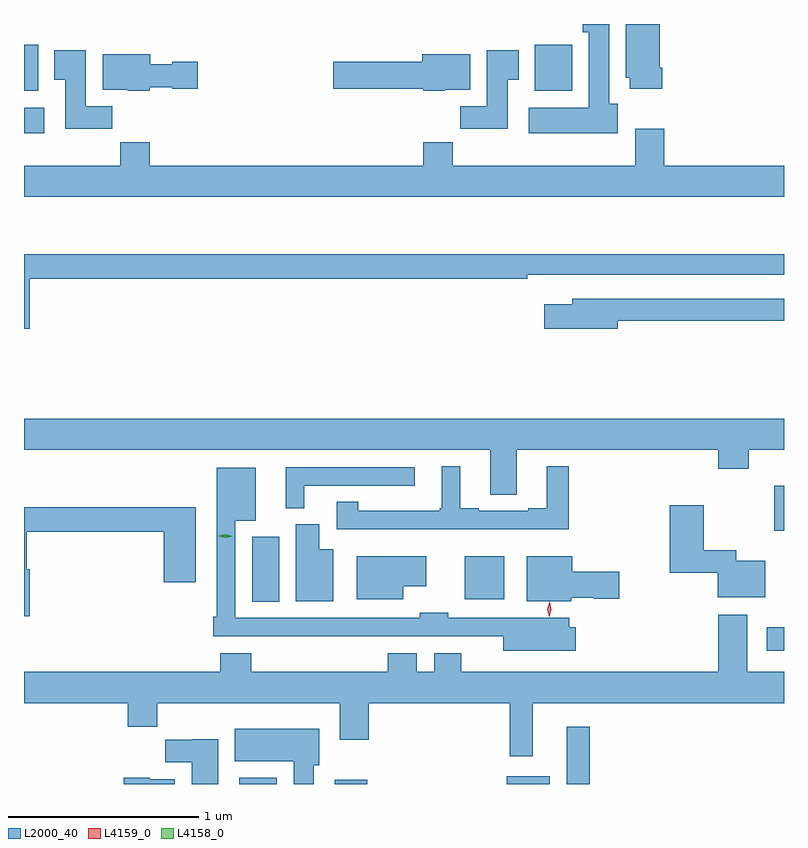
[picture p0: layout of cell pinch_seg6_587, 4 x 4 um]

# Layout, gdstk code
import gdstk
lib = gdstk.Library(unit=1e-6, precision=1e-09)
def R(c, l, rs):  # rectangles x0, y0, x1, y1
    for r in rs: c.add(gdstk.rectangle(r[:2], r[2:], *l))
def P(c, l, *ps):  # polygons
    for p in ps: c.add(gdstk.Polygon(p, *l))
L2000_40 = (2000, 40)
L4158_0 = (4158, 0)
L4159_0 = (4159, 0)

pinch_seg6_587 = lib.new_cell('pinch_seg6_587')
R(pinch_seg6_587, L2000_40, [(397.499,965.558,397.696,965.59), (398,965.558,398.171,965.581), (398.906,965.558,399.133,965.599), (399.221,965.558,399.343,965.86), (400.275,966.26,400.365,966.382), (397.565,966.517,397.708,966.859), (398.684,966.53,398.893,966.757), (400.314,966.891,400.365,967.128), (396.365,968.984,396.472,969.118), (396.365,969.206,396.439,969.448), (399.053,969.206,399.25,969.448)])
P(pinch_seg6_587, L2000_40, [(399.49,969.138),(399.445,969.138),(399.445,969.558),(399.305,969.558),(399.305,969.515),(399.338,969.515),(399.338,969.118),(399.021,969.118),(399.021,968.984),(399.49,968.984)],
  [(399.725,969.328),(399.712,969.328),(399.712,969.558),(399.533,969.558),(399.533,969.276),(399.554,969.276),(399.554,969.216),(399.725,969.216)],
  [(398.911,969.265),(398.968,969.265),(398.968,969.421),(398.801,969.421),(398.801,969.124),(398.662,969.124),(398.662,969.006),(398.911,969.006)],
  [(396.83,969.124),(396.691,969.124),(396.691,969.421),(396.524,969.421),(396.524,969.265),(396.581,969.265),(396.581,969.006),(396.83,969.006)],
  [(398.58,969.212),(398.713,969.212),(398.713,969.4),(398.462,969.4),(398.462,969.359),(397.992,969.359),(397.992,969.217),(398.466,969.217),(398.466,969.206),(398.58,969.206)],
  [(397.026,969.224),(397.146,969.224),(397.146,969.217),(397.279,969.217),(397.279,969.359),(397.146,969.359),(397.146,969.346),(397.03,969.346),(397.03,969.4),(396.779,969.4),(396.779,969.212),(396.912,969.212),(396.912,969.206),(397.026,969.206)],
  [(400.365,968.812),(399.734,968.812),(399.734,969.007),(399.581,969.007),(399.581,968.812),(398.621,968.812),(398.621,968.936),(398.465,968.936),(398.465,968.812),(397.028,968.812),(397.028,968.936),(396.871,968.936),(396.871,968.812),(396.365,968.812),(396.365,968.648),(400.365,968.648)],
  [(396.395,968.218),(399.014,968.218),(399.014,968.238),(400.365,968.238),(400.365,968.347),(396.365,968.347),(396.365,967.953),(396.395,967.953)],
  [(399.49,967.996),(400.365,967.996),(400.365,968.112),(399.251,968.112),(399.251,968.083),(399.102,968.083),(399.102,967.954),(399.49,967.954)],
  [(398.959,967.316),(400.019,967.316),(400.019,967.217),(400.179,967.217),(400.179,967.316),(400.365,967.316),(400.365,967.48),(396.365,967.48),(396.365,967.316),(398.819,967.316),(398.819,967.081),(398.959,967.081)],
  [(399.233,967.231),(399.116,967.231),(399.116,967.009),(399.02,967.009),(399.02,966.996),(398.758,966.996),(398.758,967.009),(398.662,967.009),(398.662,967.231),(398.564,967.231),(398.564,967.009),(398.553,967.009),(398.553,966.997),(398.123,966.997),(398.123,967.043),(398.01,967.043),(398.01,966.899),(399.233,966.899)],
  [(397.84,967.128),(398.422,967.128),(398.422,967.224),(397.742,967.224),(397.742,967.009),(397.84,967.009)],
  [(399.268,966.382),(399.235,966.382),(399.235,966.433),(399.015,966.433),(399.015,966.432),(398.598,966.432),(398.598,966.46),(398.448,966.46),(398.448,966.432),(397.476,966.432),(397.476,966.944),(397.585,966.944),(397.585,967.222),(397.38,967.222),(397.38,966.439),(397.36,966.439),(397.36,966.336),(397.645,966.336),(397.645,966.335),(398.195,966.335),(398.195,966.336),(398.888,966.336),(398.888,966.26),(399.268,966.26)],
  [(400.267,966.733),(400.113,966.733),(400.113,966.789),(399.942,966.789),(399.942,967.024),(399.764,967.024),(399.764,966.671),(400.017,966.671),(400.017,966.542),(400.267,966.542)],
  [(396.395,966.689),(396.38,966.689),(396.38,966.886),(397.1,966.886),(397.1,966.621),(397.27,966.621),(397.27,967.015),(396.365,967.015),(396.365,966.441),(396.395,966.441)],
  [(397.993,966.793),(397.918,966.793),(397.918,966.924),(397.796,966.924),(397.796,966.521),(397.993,966.521)],
  [(398.362,966.599),(398.482,966.599),(398.482,966.757),(398.117,966.757),(398.117,966.53),(398.362,966.53)],
  [(399.246,966.539),(399.364,966.539),(399.364,966.532),(399.499,966.532),(399.499,966.674),(399.25,966.674),(399.25,966.757),(399.011,966.757),(399.011,966.521),(399.246,966.521)],
  [(396.365,965.984),(396.911,965.984),(396.911,965.86),(397.067,965.86),(397.067,965.984),(398.027,965.984),(398.027,965.79),(398.18,965.79),(398.18,965.984),(398.922,965.984),(398.922,965.703),(399.043,965.703),(399.043,965.984),(400.365,965.984),(400.365,966.148),(400.171,966.148),(400.171,966.448),(400.019,966.448),(400.019,966.148),(398.665,966.148),(398.665,966.247),(398.525,966.247),(398.525,966.148),(398.431,966.148),(398.431,966.247),(398.279,966.247),(398.279,966.148),(397.562,966.148),(397.562,966.247),(397.397,966.247),(397.397,966.148),(396.365,966.148)],
  [(397.891,965.658),(397.918,965.658),(397.918,965.848),(397.475,965.848),(397.475,965.678),(397.784,965.678),(397.784,965.558),(397.891,965.558)],
  [(397.387,965.794),(397.251,965.794),(397.251,965.79),(397.108,965.79),(397.108,965.672),(397.247,965.672),(397.247,965.558),(397.387,965.558)],
  [(397.159,965.584),(397.026,965.584),(397.026,965.59),(396.89,965.59),(396.89,965.558),(397.159,965.558)])
P(pinch_seg6_587, L4158_0, [(397.426,966.853),(397.391,966.863),(397.39,966.864),(397.391,966.864),(397.427,966.873),(397.462,966.862),(397.462,966.862),(397.462,966.862)])
P(pinch_seg6_587, L4159_0, [(399.129,966.437),(399.129,966.437),(399.12,966.477),(399.132,966.516),(399.132,966.517),(399.132,966.516),(399.14,966.476),(399.129,966.437)])

lib.write_gds('pinch_seg6_587.gds')
